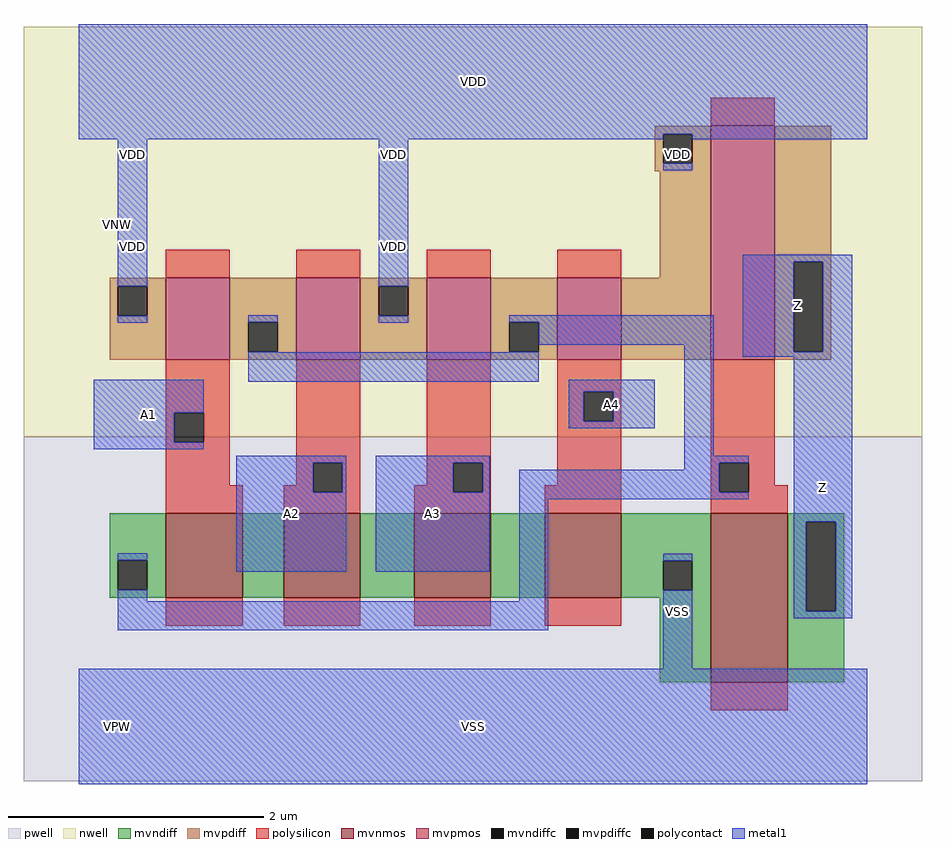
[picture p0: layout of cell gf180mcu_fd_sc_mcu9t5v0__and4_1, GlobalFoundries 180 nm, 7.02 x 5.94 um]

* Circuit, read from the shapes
.subckt gf180mcu_fd_sc_mcu9t5v0__and4_1 A1 A2 A3 A4 Z VDD VNW VPW VSS
XM1 n1 A1 n2 VPW nfet_06v0 w=0.66u l=0.6u
XM2 n3 A2 n1 VPW nfet_06v0 w=0.66u l=0.6u
XM3 n4 A3 n3 VPW nfet_06v0 w=0.66u l=0.6u
XM4 VSS A4 n4 VPW nfet_06v0 w=0.66u l=0.6u
XM5 Z n2 VSS VPW nfet_06v0 w=1.32u l=0.6u
XM6 n2 A1 VDD VNW pfet_06v0 w=0.64u l=0.5u
XM7 VDD A2 n2 VNW pfet_06v0 w=0.64u l=0.5u
XM8 n2 A3 VDD VNW pfet_06v0 w=0.64u l=0.5u
XM9 VDD A4 n2 VNW pfet_06v0 w=0.64u l=0.5u
XM10 Z n2 VDD VNW pfet_06v0 w=1.83u l=0.5u
.ends

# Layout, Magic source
magic
tech gf180mcuD
magscale 1 10
<< nwell >>
rect -86 453 1318 1094
<< pwell >>
rect -86 -86 1318 453
<< mvnmos >>
rect 136 201 256 333
rect 320 201 440 333
rect 524 201 644 333
rect 728 201 848 333
rect 988 69 1108 333
<< mvpmos >>
rect 136 573 236 701
rect 340 573 440 701
rect 544 573 644 701
rect 748 573 848 701
rect 988 573 1088 939
<< mvndiff >>
rect 48 260 136 333
rect 48 214 61 260
rect 107 214 136 260
rect 48 201 136 214
rect 256 201 320 333
rect 440 201 524 333
rect 644 201 728 333
rect 848 259 988 333
rect 848 213 913 259
rect 959 213 988 259
rect 848 201 988 213
rect 908 69 988 201
rect 1108 320 1196 333
rect 1108 180 1137 320
rect 1183 180 1196 320
rect 1108 69 1196 180
<< mvpdiff >>
rect 900 926 988 939
rect 900 880 913 926
rect 959 880 988 926
rect 900 868 988 880
rect 908 701 988 868
rect 48 688 136 701
rect 48 642 61 688
rect 107 642 136 688
rect 48 573 136 642
rect 236 632 340 701
rect 236 586 265 632
rect 311 586 340 632
rect 236 573 340 586
rect 440 688 544 701
rect 440 642 469 688
rect 515 642 544 688
rect 440 573 544 642
rect 644 632 748 701
rect 644 586 673 632
rect 719 586 748 632
rect 644 573 748 586
rect 848 573 988 701
rect 1088 726 1176 939
rect 1088 586 1117 726
rect 1163 586 1176 726
rect 1088 573 1176 586
<< mvndiffc >>
rect 61 214 107 260
rect 913 213 959 259
rect 1137 180 1183 320
<< mvpdiffc >>
rect 913 880 959 926
rect 61 642 107 688
rect 265 586 311 632
rect 469 642 515 688
rect 673 586 719 632
rect 1117 586 1163 726
<< polysilicon >>
rect 988 939 1088 983
rect 136 701 236 745
rect 340 701 440 745
rect 544 701 644 745
rect 748 701 848 745
rect 136 490 236 573
rect 136 444 149 490
rect 195 444 236 490
rect 136 377 236 444
rect 340 412 440 573
rect 340 377 366 412
rect 136 333 256 377
rect 320 366 366 377
rect 412 366 440 412
rect 544 412 644 573
rect 544 377 585 412
rect 320 333 440 366
rect 524 366 585 377
rect 631 366 644 412
rect 748 523 848 573
rect 748 477 789 523
rect 835 477 848 523
rect 748 377 848 477
rect 524 333 644 366
rect 728 333 848 377
rect 988 412 1088 573
rect 988 366 1001 412
rect 1047 377 1088 412
rect 1047 366 1108 377
rect 988 333 1108 366
rect 136 157 256 201
rect 320 157 440 201
rect 524 157 644 201
rect 728 157 848 201
rect 988 25 1108 69
<< polycontact >>
rect 149 444 195 490
rect 366 366 412 412
rect 585 366 631 412
rect 789 477 835 523
rect 1001 366 1047 412
<< metal1 >>
rect 0 926 1232 1098
rect 0 918 913 926
rect 61 688 107 918
rect 469 688 515 918
rect 959 918 1232 926
rect 913 869 959 880
rect 61 631 107 642
rect 265 632 311 643
rect 1038 726 1209 737
rect 469 631 515 642
rect 673 632 992 643
rect 265 585 311 586
rect 719 597 992 632
rect 673 585 719 586
rect 23 490 195 542
rect 265 539 719 585
rect 23 444 149 490
rect 766 523 900 542
rect 766 477 789 523
rect 835 477 900 523
rect 766 466 900 477
rect 23 433 195 444
rect 946 423 992 597
rect 1038 586 1117 726
rect 1163 586 1209 726
rect 1038 578 1209 586
rect 246 412 418 423
rect 246 366 366 412
rect 412 366 418 412
rect 61 260 107 271
rect 246 242 418 366
rect 464 412 642 423
rect 464 366 585 412
rect 631 366 642 412
rect 946 412 1047 423
rect 946 401 1001 412
rect 464 242 642 366
rect 688 366 1001 401
rect 688 355 1047 366
rect 61 196 107 214
rect 688 196 734 355
rect 1117 320 1209 578
rect 61 150 734 196
rect 913 259 959 270
rect 913 90 959 213
rect 1117 180 1137 320
rect 1183 180 1209 320
rect 1117 169 1209 180
rect 0 -90 1232 90
<< labels >>
flabel metal1 s 23 433 195 542 0 FreeSans 200 0 0 0 A1
port 1 nsew default input
flabel metal1 s 246 242 418 423 0 FreeSans 200 0 0 0 A2
port 2 nsew default input
flabel metal1 s 464 242 642 423 0 FreeSans 200 0 0 0 A3
port 3 nsew default input
flabel metal1 s 766 466 900 542 0 FreeSans 200 0 0 0 A4
port 4 nsew default input
flabel metal1 s 0 918 1232 1098 0 FreeSans 200 0 0 0 VDD
port 6 nsew power bidirectional abutment
flabel metal1 s 913 90 959 270 0 FreeSans 200 0 0 0 VSS
port 9 nsew ground bidirectional abutment
flabel metal1 s 1038 578 1209 737 0 FreeSans 200 0 0 0 Z
port 5 nsew default output
flabel nwell s 10 734 110 834 0 FreeSans 400 0 0 0 VNW
port 7 nsew power bidirectional
flabel pwell s 10 -50 110 50 0 FreeSans 400 0 0 0 VPW
port 8 nsew ground bidirectional
rlabel metal1 s 1117 169 1209 578 1 Z
port 5 nsew default output
rlabel metal1 s 913 869 959 918 1 VDD
port 6 nsew power bidirectional abutment
rlabel metal1 s 469 869 515 918 1 VDD
port 6 nsew power bidirectional abutment
rlabel metal1 s 61 869 107 918 1 VDD
port 6 nsew power bidirectional abutment
rlabel metal1 s 469 631 515 869 1 VDD
port 6 nsew power bidirectional abutment
rlabel metal1 s 61 631 107 869 1 VDD
port 6 nsew power bidirectional abutment
rlabel metal1 s 0 -90 1232 90 1 VSS
port 9 nsew ground bidirectional abutment
<< properties >>
string FIXED_BBOX 0 0 1232 1008
string GDS_END 1154342
string GDS_FILE $PDKPATH/libs.ref/gf180mcu_fd_sc_mcu9t5v0/gds/gf180mcu_fd_sc_mcu9t5v0.gds
string GDS_START 1150598
string LEFclass core
string LEFsite GF018hv5v_green_sc9
string LEFsymmetry X Y
<< end >>
